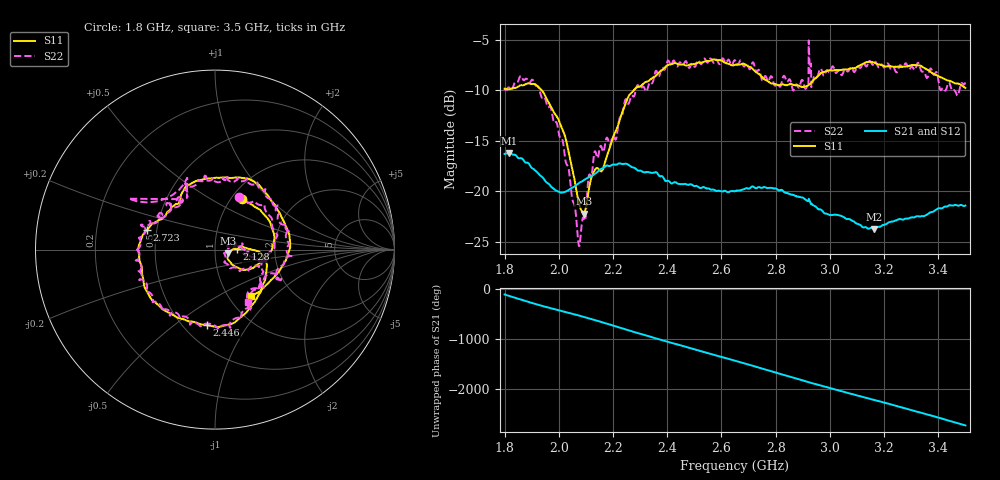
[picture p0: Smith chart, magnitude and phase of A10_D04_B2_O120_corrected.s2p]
! Created with skrf 1.9.0 (http://scikit-rf.org).
# Hz S RI R 50.0
!freq ReS11 ImS11 ReS21 ImS21 ReS12 ImS12 ReS22 ImS22
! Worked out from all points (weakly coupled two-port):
!   1601 points, 1.8 GHz to 3.5 GHz, reference 50 ohm
!   highest |S21| = -16.23 dB at 1.817 GHz (marker M1); lowest = -23.8 dB at 3.163 GHz (marker M2)
!   lowest |S11| = -22.2 dB at 2.092 GHz (marker M3), VSWR 1.17, Z = 58 - j2.46 ohm
!   |S11| at or under -10 dB: 1.937 GHz to 2.277 GHz (339.7 MHz wide, 16.1 % of centre)
!   |S22| runs from -25.5 to -5.1 dB; largest |S21 - S12| = 0.0025
!   S11 on the Smith chart (normalised r, x): 1.8 GHz: 1.12, +0.71; 2.128 GHz: 1.28, +0.01; 2.446 GHz: 0.65, -0.66; 2.723 GHz: 0.44, +0.12; 3.5 GHz: 1.26, -0.73
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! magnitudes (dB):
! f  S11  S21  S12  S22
! 1.8 GHz  -9.9  -16.3  -16.3  -9.9
! 1.817 GHz  -9.9  -16.2  -16.2  -9.7
! 1.903 GHz  -9.4  -17.7  -17.7  -9.0
! 1.968 GHz  -11.5  -19.4  -19.5  -11.6
! 2.015 GHz  -14.0  -20.1  -20.1  -15.0
! 2.072 GHz  -20.9  -19.3  -19.3  -25.1
! 2.084 GHz  -21.9  -19.1  -19.0  -23.4
! 2.092 GHz  -22.2  -18.9  -19.0  -22.7
! 2.128 GHz  -18.1  -18.4  -18.4  -16.7
! 2.163 GHz  -17.8  -17.7  -17.7  -16.1
! 2.26 GHz  -10.5  -17.5  -17.5  -11.2
! 2.367 GHz  -8.3  -18.4  -18.3  -8.6
! 2.446 GHz  -7.5  -19.3  -19.3  -7.2
! 2.65 GHz  -7.5  -20.0  -20.0  -7.0
! 2.723 GHz  -8.1  -19.7  -19.6  -7.7
! 2.808 GHz  -9.5  -19.9  -19.8  -9.4
! 2.934 GHz  -9.2  -21.3  -21.3  -9.5
! 3.163 GHz  -7.2  -23.8  -23.7  -7.3
! 3.217 GHz  -7.6  -23.1  -23.1  -7.5
! 3.326 GHz  -7.5  -22.5  -22.4  -7.3
! 3.468 GHz  -9.3  -21.4  -21.4  -10.5
! 3.5 GHz  -9.8  -21.4  -21.4  -9.2
